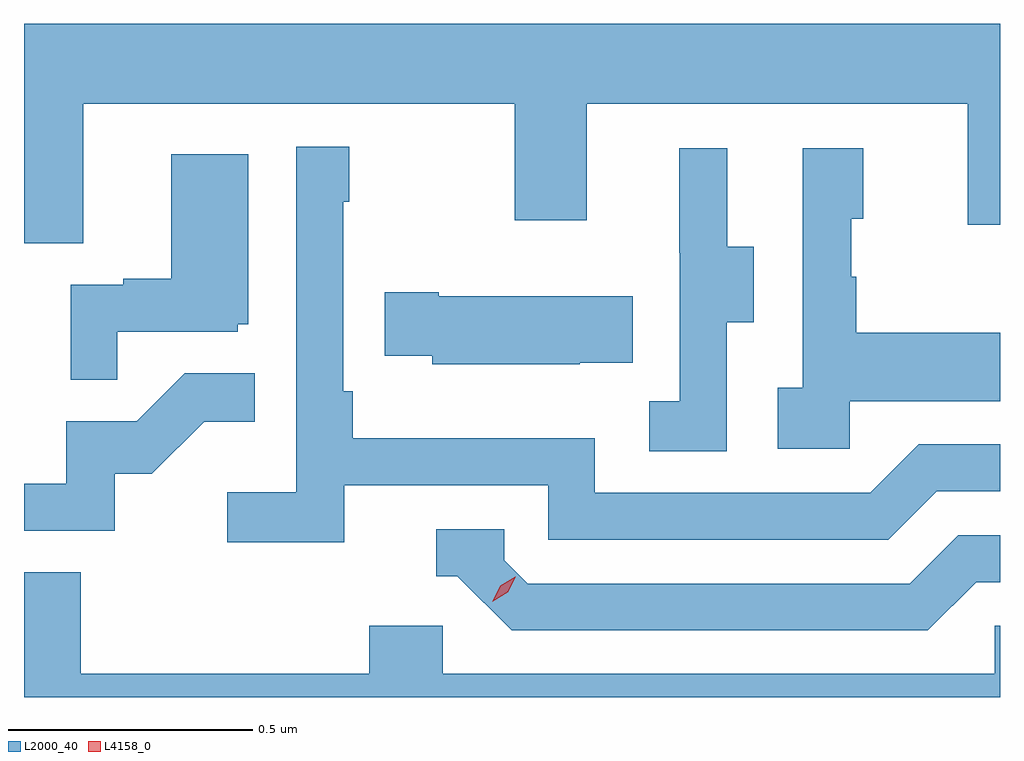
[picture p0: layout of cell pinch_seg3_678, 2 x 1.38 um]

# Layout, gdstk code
import gdstk
lib = gdstk.Library(unit=1e-6, precision=1e-09)
def P(c, l, *ps):  # polygons
    for p in ps: c.add(gdstk.Polygon(p, *l))
L2000_40 = (2000, 40)
L4158_0 = (4158, 0)

pinch_seg3_678 = lib.new_cell('pinch_seg3_678')
P(pinch_seg3_678, L2000_40, [(1077.361,667.616),(1078.246,667.616),(1078.246,667.377),(1078.393,667.377),(1078.393,667.616),(1079.174,667.616),(1079.174,667.368),(1079.24,667.368),(1079.24,667.78),(1077.24,667.78),(1077.24,667.33),(1077.361,667.33)],
  [(1077.896,666.834),(1078.314,666.834),(1078.314,666.723),(1079.011,666.723),(1079.11,666.822),(1079.24,666.822),(1079.24,666.918),(1079.073,666.918),(1078.974,666.819),(1078.41,666.819),(1078.41,666.931),(1077.914,666.931),(1077.914,667.027),(1077.894,667.027),(1077.894,667.415),(1077.907,667.415),(1077.907,667.528),(1077.798,667.528),(1077.798,666.82),(1077.657,666.82),(1077.657,666.718),(1077.896,666.718)],
  [(1078.68,667.168),(1078.735,667.168),(1078.735,667.323),(1078.681,667.323),(1078.681,667.525),(1078.583,667.525),(1078.583,667.311),(1078.584,667.311),(1078.584,667.007),(1078.521,667.007),(1078.521,666.904),(1078.68,666.904)],
  [(1078.932,667.007),(1079.24,667.007),(1079.24,667.147),(1078.945,667.147),(1078.945,667.262),(1078.935,667.262),(1078.935,667.38),(1078.96,667.38),(1078.96,667.525),(1078.836,667.525),(1078.836,667.034),(1078.785,667.034),(1078.785,666.909),(1078.932,666.909)],
  [(1077.431,667.149),(1077.678,667.149),(1077.678,667.164),(1077.7,667.164),(1077.7,667.513),(1077.542,667.513),(1077.542,667.258),(1077.443,667.258),(1077.443,667.245),(1077.336,667.245),(1077.336,667.051),(1077.431,667.051)],
  [(1078.379,667.085),(1078.487,667.085),(1078.487,667.222),(1078.09,667.222),(1078.09,667.23),(1077.979,667.23),(1077.979,667.1),(1078.077,667.1),(1078.077,667.082),(1078.379,667.082)],
  [(1077.426,666.858),(1077.502,666.858),(1077.609,666.965),(1077.713,666.965),(1077.713,667.064),(1077.569,667.064),(1077.471,666.966),(1077.327,666.966),(1077.327,666.837),(1077.24,666.837),(1077.24,666.741),(1077.426,666.741)],
  [(1079.191,666.636),(1079.24,666.636),(1079.24,666.732),(1079.154,666.732),(1079.055,666.633),(1078.272,666.633),(1078.224,666.681),(1078.224,666.744),(1078.085,666.744),(1078.085,666.648),(1078.128,666.648),(1078.239,666.537),(1079.092,666.537)],
  [(1079.24,666.546),(1079.229,666.546),(1079.229,666.448),(1078.098,666.448),(1078.098,666.546),(1077.947,666.546),(1077.947,666.448),(1077.356,666.448),(1077.356,666.656),(1077.24,666.656),(1077.24,666.4),(1079.24,666.4)])
P(pinch_seg3_678, L4158_0, [(1078.2,666.596),(1078.2,666.596),(1078.216,666.628),(1078.247,666.647),(1078.248,666.647),(1078.248,666.647),(1078.231,666.615),(1078.2,666.596)])

lib.write_gds('pinch_seg3_678.gds')
